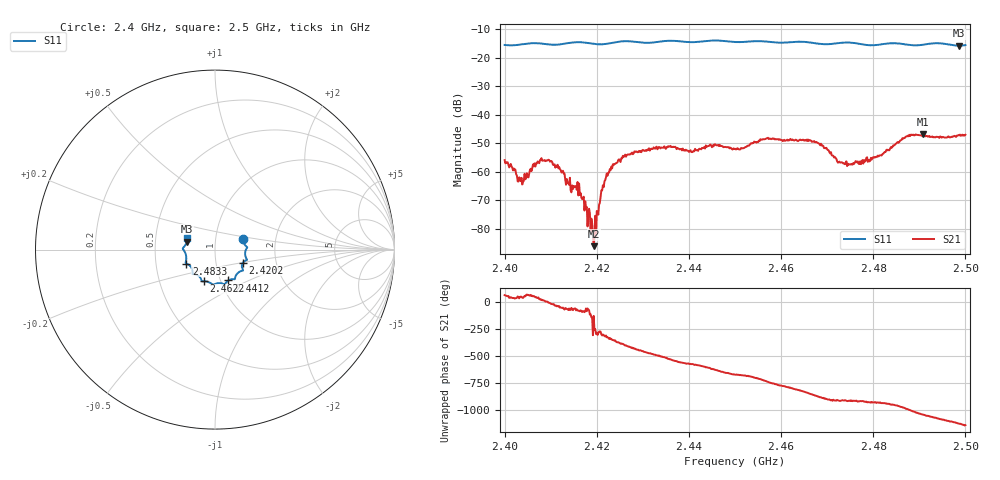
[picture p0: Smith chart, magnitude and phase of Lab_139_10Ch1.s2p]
# Hz S RI R 50
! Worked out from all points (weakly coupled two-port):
!   601 points, 2.4 GHz to 2.5 GHz, reference 50 ohm
!   highest |S21| = -46.85 dB at 2.4908 GHz (marker M1); lowest = -86.1 dB at 2.4193 GHz (marker M2)
!   lowest |S11| = -15.8 dB at 2.4987 GHz (marker M3), VSWR 1.39, Z = 36.4 + j3.35 ohm
!   |S11| at or under -10 dB: start of sweep to end of sweep
!   S12 and S22 are empty: the file has one direction only
!   S11 on the Smith chart (normalised r, x): 2.4 GHz: 1.36, +0.17; 2.4202 GHz: 1.35, -0.20; 2.4412 GHz: 1.09, -0.39; 2.4622 GHz: 0.83, -0.30; 2.4833 GHz: 0.72, -0.11; 2.5 GHz: 0.73, +0.09
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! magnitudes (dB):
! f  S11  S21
! 2.4 GHz  -15.5  -55.9
! 2.4035 GHz  -15.4  -63.3
! 2.4075 GHz  -15.0  -57.0
! 2.4098 GHz  -15.4  -56.4
! 2.4167 GHz  -14.6  -69.1
! 2.4193 GHz  -15.2  -86.1
! 2.4202 GHz  -15.3  -74.2
! 2.4217 GHz  -15.2  -63.3
! 2.4237 GHz  -14.7  -57.6
! 2.4262 GHz  -14.2  -54.0
! 2.4333 GHz  -14.4  -51.6
! 2.4412 GHz  -14.5  -52.8
! 2.45 GHz  -14.5  -51.9
! 2.4567 GHz  -14.3  -48.5
! 2.4622 GHz  -14.5  -48.7
! 2.4667 GHz  -14.7  -49.5
! 2.4748 GHz  -14.7  -57.4
! 2.4833 GHz  -15.0  -52.3
! 2.4873 GHz  -15.4  -47.6
! 2.4908 GHz  -15.4  -46.9
! 2.4987 GHz  -15.8  -47.2
! 2.5 GHz  -15.6  -47.0
